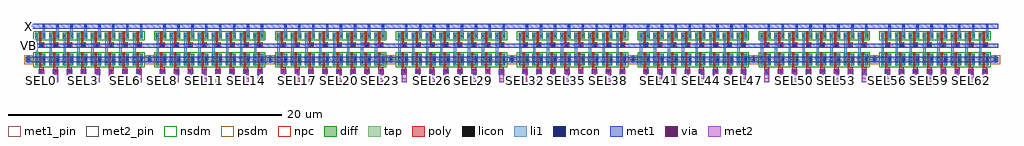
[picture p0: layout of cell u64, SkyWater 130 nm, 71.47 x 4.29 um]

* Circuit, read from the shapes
.subckt u64 GND SEL0 SEL1 SEL10 SEL11 SEL12 SEL13 SEL14 SEL15 SEL16 SEL17 SEL18 SEL19 SEL2 SEL20 SEL21 SEL22 SEL23 SEL24 SEL25 SEL26 SEL27 SEL28 SEL29 SEL3 SEL30 SEL31 SEL32 SEL33 SEL34 SEL35 SEL36 SEL37 SEL38 SEL39 SEL4 SEL40 SEL41 SEL42 SEL43 SEL44 SEL45 SEL46 SEL47 SEL48 SEL49 SEL5 SEL50 SEL51 SEL52 SEL53 SEL54 SEL55 SEL56 SEL57 SEL58 SEL59 SEL6 SEL60 SEL61 SEL62 SEL63 SEL7 SEL8 SEL9 VB X
XM1 GND SEL0 n1 GND sky130_fd_pr__nfet_01v8 w=0.84 l=0.15
XM2 X VB n1 GND sky130_fd_pr__nfet_01v8 w=0.42 l=0.15
XM3 GND SEL1 n2 GND sky130_fd_pr__nfet_01v8 w=0.84 l=0.15
XM4 X VB n2 GND sky130_fd_pr__nfet_01v8 w=0.42 l=0.15
XM5 GND SEL2 n3 GND sky130_fd_pr__nfet_01v8 w=0.84 l=0.15
XM6 X VB n3 GND sky130_fd_pr__nfet_01v8 w=0.42 l=0.15
XM7 GND SEL3 n4 GND sky130_fd_pr__nfet_01v8 w=0.84 l=0.15
XM8 X VB n4 GND sky130_fd_pr__nfet_01v8 w=0.42 l=0.15
XM9 GND SEL4 n5 GND sky130_fd_pr__nfet_01v8 w=0.84 l=0.15
XM10 X VB n5 GND sky130_fd_pr__nfet_01v8 w=0.42 l=0.15
XM11 GND SEL5 n6 GND sky130_fd_pr__nfet_01v8 w=0.84 l=0.15
XM12 X VB n6 GND sky130_fd_pr__nfet_01v8 w=0.42 l=0.15
XM13 GND SEL6 n7 GND sky130_fd_pr__nfet_01v8 w=0.84 l=0.15
XM14 X VB n7 GND sky130_fd_pr__nfet_01v8 w=0.42 l=0.15
XM15 GND SEL7 n8 GND sky130_fd_pr__nfet_01v8 w=0.84 l=0.15
XM16 X VB n8 GND sky130_fd_pr__nfet_01v8 w=0.42 l=0.15
XM17 GND SEL8 n9 GND sky130_fd_pr__nfet_01v8 w=0.84 l=0.15
XM18 X VB n9 GND sky130_fd_pr__nfet_01v8 w=0.42 l=0.15
XM19 GND SEL9 n10 GND sky130_fd_pr__nfet_01v8 w=0.84 l=0.15
XM20 X VB n10 GND sky130_fd_pr__nfet_01v8 w=0.42 l=0.15
XM21 GND SEL10 n11 GND sky130_fd_pr__nfet_01v8 w=0.84 l=0.15
XM22 X VB n11 GND sky130_fd_pr__nfet_01v8 w=0.42 l=0.15
XM23 GND SEL11 n12 GND sky130_fd_pr__nfet_01v8 w=0.84 l=0.15
XM24 X VB n12 GND sky130_fd_pr__nfet_01v8 w=0.42 l=0.15
XM25 GND SEL12 n13 GND sky130_fd_pr__nfet_01v8 w=0.84 l=0.15
XM26 X VB n13 GND sky130_fd_pr__nfet_01v8 w=0.42 l=0.15
XM27 GND SEL13 n14 GND sky130_fd_pr__nfet_01v8 w=0.84 l=0.15
XM28 X VB n14 GND sky130_fd_pr__nfet_01v8 w=0.42 l=0.15
XM29 GND SEL14 n15 GND sky130_fd_pr__nfet_01v8 w=0.84 l=0.15
XM30 X VB n15 GND sky130_fd_pr__nfet_01v8 w=0.42 l=0.15
XM31 GND SEL15 n16 GND sky130_fd_pr__nfet_01v8 w=0.84 l=0.15
XM32 X VB n16 GND sky130_fd_pr__nfet_01v8 w=0.42 l=0.15
XM33 GND SEL16 n17 GND sky130_fd_pr__nfet_01v8 w=0.84 l=0.15
XM34 X VB n17 GND sky130_fd_pr__nfet_01v8 w=0.42 l=0.15
XM35 GND SEL17 n18 GND sky130_fd_pr__nfet_01v8 w=0.84 l=0.15
XM36 X VB n18 GND sky130_fd_pr__nfet_01v8 w=0.42 l=0.15
XM37 GND SEL18 n19 GND sky130_fd_pr__nfet_01v8 w=0.84 l=0.15
XM38 X VB n19 GND sky130_fd_pr__nfet_01v8 w=0.42 l=0.15
XM39 GND SEL19 n20 GND sky130_fd_pr__nfet_01v8 w=0.84 l=0.15
XM40 X VB n20 GND sky130_fd_pr__nfet_01v8 w=0.42 l=0.15
XM41 GND SEL20 n21 GND sky130_fd_pr__nfet_01v8 w=0.84 l=0.15
XM42 X VB n21 GND sky130_fd_pr__nfet_01v8 w=0.42 l=0.15
XM43 GND SEL21 n22 GND sky130_fd_pr__nfet_01v8 w=0.84 l=0.15
XM44 X VB n22 GND sky130_fd_pr__nfet_01v8 w=0.42 l=0.15
XM45 GND SEL22 n23 GND sky130_fd_pr__nfet_01v8 w=0.84 l=0.15
XM46 X VB n23 GND sky130_fd_pr__nfet_01v8 w=0.42 l=0.15
XM47 GND SEL23 n24 GND sky130_fd_pr__nfet_01v8 w=0.84 l=0.15
XM48 X VB n24 GND sky130_fd_pr__nfet_01v8 w=0.42 l=0.15
XM49 GND SEL24 n25 GND sky130_fd_pr__nfet_01v8 w=0.84 l=0.15
XM50 X VB n25 GND sky130_fd_pr__nfet_01v8 w=0.42 l=0.15
XM51 GND SEL25 n26 GND sky130_fd_pr__nfet_01v8 w=0.84 l=0.15
XM52 X VB n26 GND sky130_fd_pr__nfet_01v8 w=0.42 l=0.15
XM53 GND SEL26 n27 GND sky130_fd_pr__nfet_01v8 w=0.84 l=0.15
XM54 X VB n27 GND sky130_fd_pr__nfet_01v8 w=0.42 l=0.15
XM55 GND SEL27 n28 GND sky130_fd_pr__nfet_01v8 w=0.84 l=0.15
XM56 X VB n28 GND sky130_fd_pr__nfet_01v8 w=0.42 l=0.15
XM57 GND SEL28 n29 GND sky130_fd_pr__nfet_01v8 w=0.84 l=0.15
XM58 X VB n29 GND sky130_fd_pr__nfet_01v8 w=0.42 l=0.15
XM59 GND SEL29 n30 GND sky130_fd_pr__nfet_01v8 w=0.84 l=0.15
XM60 X VB n30 GND sky130_fd_pr__nfet_01v8 w=0.42 l=0.15
XM61 GND SEL30 n31 GND sky130_fd_pr__nfet_01v8 w=0.84 l=0.15
XM62 X VB n31 GND sky130_fd_pr__nfet_01v8 w=0.42 l=0.15
XM63 GND SEL31 n32 GND sky130_fd_pr__nfet_01v8 w=0.84 l=0.15
XM64 X VB n32 GND sky130_fd_pr__nfet_01v8 w=0.42 l=0.15
XM65 GND SEL32 n33 GND sky130_fd_pr__nfet_01v8 w=0.84 l=0.15
XM66 X VB n33 GND sky130_fd_pr__nfet_01v8 w=0.42 l=0.15
XM67 GND SEL33 n34 GND sky130_fd_pr__nfet_01v8 w=0.84 l=0.15
XM68 X VB n34 GND sky130_fd_pr__nfet_01v8 w=0.42 l=0.15
XM69 GND SEL34 n35 GND sky130_fd_pr__nfet_01v8 w=0.84 l=0.15
XM70 X VB n35 GND sky130_fd_pr__nfet_01v8 w=0.42 l=0.15
XM71 GND SEL35 n36 GND sky130_fd_pr__nfet_01v8 w=0.84 l=0.15
XM72 X VB n36 GND sky130_fd_pr__nfet_01v8 w=0.42 l=0.15
XM73 GND SEL36 n37 GND sky130_fd_pr__nfet_01v8 w=0.84 l=0.15
XM74 X VB n37 GND sky130_fd_pr__nfet_01v8 w=0.42 l=0.15
XM75 GND SEL37 n38 GND sky130_fd_pr__nfet_01v8 w=0.84 l=0.15
XM76 X VB n38 GND sky130_fd_pr__nfet_01v8 w=0.42 l=0.15
XM77 GND SEL38 n39 GND sky130_fd_pr__nfet_01v8 w=0.84 l=0.15
XM78 X VB n39 GND sky130_fd_pr__nfet_01v8 w=0.42 l=0.15
XM79 GND SEL39 n40 GND sky130_fd_pr__nfet_01v8 w=0.84 l=0.15
XM80 X VB n40 GND sky130_fd_pr__nfet_01v8 w=0.42 l=0.15
XM81 GND SEL40 n41 GND sky130_fd_pr__nfet_01v8 w=0.84 l=0.15
XM82 X VB n41 GND sky130_fd_pr__nfet_01v8 w=0.42 l=0.15
XM83 GND SEL41 n42 GND sky130_fd_pr__nfet_01v8 w=0.84 l=0.15
XM84 X VB n42 GND sky130_fd_pr__nfet_01v8 w=0.42 l=0.15
XM85 GND SEL42 n43 GND sky130_fd_pr__nfet_01v8 w=0.84 l=0.15
XM86 X VB n43 GND sky130_fd_pr__nfet_01v8 w=0.42 l=0.15
XM87 GND SEL43 n44 GND sky130_fd_pr__nfet_01v8 w=0.84 l=0.15
XM88 X VB n44 GND sky130_fd_pr__nfet_01v8 w=0.42 l=0.15
XM89 GND SEL44 n45 GND sky130_fd_pr__nfet_01v8 w=0.84 l=0.15
XM90 X VB n45 GND sky130_fd_pr__nfet_01v8 w=0.42 l=0.15
XM91 GND SEL45 n46 GND sky130_fd_pr__nfet_01v8 w=0.84 l=0.15
XM92 X VB n46 GND sky130_fd_pr__nfet_01v8 w=0.42 l=0.15
XM93 GND SEL46 n47 GND sky130_fd_pr__nfet_01v8 w=0.84 l=0.15
XM94 X VB n47 GND sky130_fd_pr__nfet_01v8 w=0.42 l=0.15
XM95 GND SEL47 n48 GND sky130_fd_pr__nfet_01v8 w=0.84 l=0.15
XM96 X VB n48 GND sky130_fd_pr__nfet_01v8 w=0.42 l=0.15
XM97 GND SEL48 n49 GND sky130_fd_pr__nfet_01v8 w=0.84 l=0.15
XM98 X VB n49 GND sky130_fd_pr__nfet_01v8 w=0.42 l=0.15
XM99 GND SEL49 n50 GND sky130_fd_pr__nfet_01v8 w=0.84 l=0.15
XM100 X VB n50 GND sky130_fd_pr__nfet_01v8 w=0.42 l=0.15
XM101 GND SEL50 n51 GND sky130_fd_pr__nfet_01v8 w=0.84 l=0.15
XM102 X VB n51 GND sky130_fd_pr__nfet_01v8 w=0.42 l=0.15
XM103 GND SEL51 n52 GND sky130_fd_pr__nfet_01v8 w=0.84 l=0.15
XM104 X VB n52 GND sky130_fd_pr__nfet_01v8 w=0.42 l=0.15
XM105 GND SEL52 n53 GND sky130_fd_pr__nfet_01v8 w=0.84 l=0.15
XM106 X VB n53 GND sky130_fd_pr__nfet_01v8 w=0.42 l=0.15
XM107 GND SEL53 n54 GND sky130_fd_pr__nfet_01v8 w=0.84 l=0.15
XM108 X VB n54 GND sky130_fd_pr__nfet_01v8 w=0.42 l=0.15
XM109 GND SEL54 n55 GND sky130_fd_pr__nfet_01v8 w=0.84 l=0.15
XM110 X VB n55 GND sky130_fd_pr__nfet_01v8 w=0.42 l=0.15
XM111 GND SEL55 n56 GND sky130_fd_pr__nfet_01v8 w=0.84 l=0.15
XM112 X VB n56 GND sky130_fd_pr__nfet_01v8 w=0.42 l=0.15
XM113 GND SEL56 n57 GND sky130_fd_pr__nfet_01v8 w=0.84 l=0.15
XM114 X VB n57 GND sky130_fd_pr__nfet_01v8 w=0.42 l=0.15
XM115 GND SEL57 n58 GND sky130_fd_pr__nfet_01v8 w=0.84 l=0.15
XM116 X VB n58 GND sky130_fd_pr__nfet_01v8 w=0.42 l=0.15
XM117 GND SEL58 n59 GND sky130_fd_pr__nfet_01v8 w=0.84 l=0.15
XM118 X VB n59 GND sky130_fd_pr__nfet_01v8 w=0.42 l=0.15
XM119 GND SEL59 n60 GND sky130_fd_pr__nfet_01v8 w=0.84 l=0.15
XM120 X VB n60 GND sky130_fd_pr__nfet_01v8 w=0.42 l=0.15
XM121 GND SEL60 n61 GND sky130_fd_pr__nfet_01v8 w=0.84 l=0.15
XM122 X VB n61 GND sky130_fd_pr__nfet_01v8 w=0.42 l=0.15
XM123 GND SEL61 n62 GND sky130_fd_pr__nfet_01v8 w=0.84 l=0.15
XM124 X VB n62 GND sky130_fd_pr__nfet_01v8 w=0.42 l=0.15
XM125 GND SEL62 n63 GND sky130_fd_pr__nfet_01v8 w=0.84 l=0.15
XM126 X VB n63 GND sky130_fd_pr__nfet_01v8 w=0.42 l=0.15
XM127 GND SEL63 n64 GND sky130_fd_pr__nfet_01v8 w=0.84 l=0.15
XM128 X VB n64 GND sky130_fd_pr__nfet_01v8 w=0.42 l=0.15
.ends

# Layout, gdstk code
import gdstk
lib = gdstk.Library(unit=1e-6, precision=1e-09)
def R(c, l, rs):  # rectangles x0, y0, x1, y1
    for r in rs: c.add(gdstk.rectangle(r[:2], r[2:], *l))
def A(c, l, x, y, w, h, nx, ny, dx, dy):  # array of equal rectangles
    R(c, l, [(x+i*dx, y+j*dy, x+i*dx+w, y+j*dy+h) for i in range(nx) for j in range(ny)])
diff = (65, 20)
tap = (65, 44)
poly = (66, 20)
licon = (66, 44)
li1 = (67, 20)
mcon = (67, 44)
met1_pin = (68, 16)
met1 = (68, 20)
via = (68, 44)
met2_pin = (69, 16)
met2 = (69, 20)
nsdm = (93, 44)
psdm = (94, 20)
npc = (95, 20)

u64 = lib.new_cell('u64')
A(u64, diff, 0.69, -1.96, 0.75, 0.84, 8, 1, 1.02, 0)
A(u64, diff, 9.54, -1.96, 0.75, 0.84, 8, 1, 1.02, 0)
A(u64, diff, 18.39, -1.96, 0.75, 0.84, 8, 1, 1.02, 0)
A(u64, diff, 27.24, -1.96, 0.75, 0.84, 8, 1, 1.02, 0)
A(u64, diff, 36.09, -1.96, 0.75, 0.84, 8, 1, 1.02, 0)
A(u64, diff, 44.94, -1.96, 0.75, 0.84, 8, 1, 1.02, 0)
A(u64, diff, 53.79, -1.96, 0.75, 0.84, 8, 1, 1.02, 0)
A(u64, diff, 62.64, -1.96, 0.75, 0.84, 8, 1, 1.02, 0)
A(u64, diff, 0.69, 0, 0.75, 0.42, 8, 1, 1.02, 0)
A(u64, diff, 9.54, 0, 0.75, 0.42, 8, 1, 1.02, 0)
A(u64, diff, 18.39, 0, 0.75, 0.42, 8, 1, 1.02, 0)
A(u64, diff, 27.24, 0, 0.75, 0.42, 8, 1, 1.02, 0)
A(u64, diff, 36.09, 0, 0.75, 0.42, 8, 1, 1.02, 0)
A(u64, diff, 44.94, 0, 0.75, 0.42, 8, 1, 1.02, 0)
A(u64, diff, 53.79, 0, 0.75, 0.42, 8, 1, 1.02, 0)
A(u64, diff, 62.64, 0, 0.75, 0.42, 8, 1, 1.02, 0)
A(u64, tap, 0, -1.75, 0.42, 0.42, 9, 1, 8.85, 0)
A(u64, poly, 0.99, -2.62, 0.34, 0.53, 8, 1, 1.02, 0)
A(u64, poly, 9.84, -2.62, 0.34, 0.53, 8, 1, 1.02, 0)
A(u64, poly, 18.69, -2.62, 0.34, 0.53, 8, 1, 1.02, 0)
A(u64, poly, 27.54, -2.62, 0.34, 0.53, 8, 1, 1.02, 0)
A(u64, poly, 36.39, -2.62, 0.34, 0.53, 8, 1, 1.02, 0)
A(u64, poly, 45.24, -2.62, 0.34, 0.53, 8, 1, 1.02, 0)
A(u64, poly, 54.09, -2.62, 0.34, 0.53, 8, 1, 1.02, 0)
A(u64, poly, 62.94, -2.62, 0.34, 0.53, 8, 1, 1.02, 0)
A(u64, poly, 0.99, -2.09, 0.15, 1.1, 8, 1, 1.02, 0)
A(u64, poly, 9.84, -2.09, 0.15, 1.1, 8, 1, 1.02, 0)
A(u64, poly, 18.69, -2.09, 0.15, 1.1, 8, 1, 1.02, 0)
A(u64, poly, 27.54, -2.09, 0.15, 1.1, 8, 1, 1.02, 0)
A(u64, poly, 36.39, -2.09, 0.15, 1.1, 8, 1, 1.02, 0)
A(u64, poly, 45.24, -2.09, 0.15, 1.1, 8, 1, 1.02, 0)
A(u64, poly, 54.09, -2.09, 0.15, 1.1, 8, 1, 1.02, 0)
A(u64, poly, 62.94, -2.09, 0.15, 1.1, 8, 1, 1.02, 0)
A(u64, poly, 0.99, -0.62, 0.34, 0.33, 8, 1, 1.02, 0)
A(u64, poly, 9.84, -0.62, 0.34, 0.33, 8, 1, 1.02, 0)
A(u64, poly, 18.69, -0.62, 0.34, 0.33, 8, 1, 1.02, 0)
A(u64, poly, 27.54, -0.62, 0.34, 0.33, 8, 1, 1.02, 0)
A(u64, poly, 36.39, -0.62, 0.34, 0.33, 8, 1, 1.02, 0)
A(u64, poly, 45.24, -0.62, 0.34, 0.33, 8, 1, 1.02, 0)
A(u64, poly, 54.09, -0.62, 0.34, 0.33, 8, 1, 1.02, 0)
A(u64, poly, 62.94, -0.62, 0.34, 0.33, 8, 1, 1.02, 0)
A(u64, poly, 0.99, -0.29, 0.15, 0.84, 8, 1, 1.02, 0)
A(u64, poly, 9.84, -0.29, 0.15, 0.84, 8, 1, 1.02, 0)
A(u64, poly, 18.69, -0.29, 0.15, 0.84, 8, 1, 1.02, 0)
A(u64, poly, 27.54, -0.29, 0.15, 0.84, 8, 1, 1.02, 0)
A(u64, poly, 36.39, -0.29, 0.15, 0.84, 8, 1, 1.02, 0)
A(u64, poly, 45.24, -0.29, 0.15, 0.84, 8, 1, 1.02, 0)
A(u64, poly, 54.09, -0.29, 0.15, 0.84, 8, 1, 1.02, 0)
A(u64, poly, 62.94, -0.29, 0.15, 0.84, 8, 1, 1.02, 0)
A(u64, licon, 1.08, -2.54, 0.17, 0.17, 8, 2, 1.02, 2)
A(u64, licon, 9.93, -2.54, 0.17, 0.17, 8, 2, 1.02, 2)
A(u64, licon, 18.78, -2.54, 0.17, 0.17, 8, 2, 1.02, 2)
A(u64, licon, 27.63, -2.54, 0.17, 0.17, 8, 2, 1.02, 2)
A(u64, licon, 36.48, -2.54, 0.17, 0.17, 8, 2, 1.02, 2)
A(u64, licon, 45.33, -2.54, 0.17, 0.17, 8, 2, 1.02, 2)
A(u64, licon, 54.18, -2.54, 0.17, 0.17, 8, 2, 1.02, 2)
A(u64, licon, 63.03, -2.54, 0.17, 0.17, 8, 2, 1.02, 2)
A(u64, licon, 0.125, -1.625, 0.17, 0.17, 9, 1, 8.85, 0)
R(u64, licon, [(0.73,-1.795,0.9,-1.625), (1.23,-1.795,1.4,-1.625), (1.75,-1.795,1.92,-1.625), (2.25,-1.795,2.42,-1.625), (2.77,-1.795,2.94,-1.625), (3.27,-1.795,3.44,-1.625), (3.79,-1.795,3.96,-1.625), (4.29,-1.795,4.46,-1.625), (4.81,-1.795,4.98,-1.625), (5.31,-1.795,5.48,-1.625), (5.83,-1.795,6,-1.625), (6.33,-1.795,6.5,-1.625), (6.85,-1.795,7.02,-1.625), (7.35,-1.795,7.52,-1.625), (7.87,-1.795,8.04,-1.625), (8.37,-1.795,8.54,-1.625), (9.58,-1.795,9.75,-1.625), (10.08,-1.795,10.25,-1.625), (10.6,-1.795,10.77,-1.625), (11.1,-1.795,11.27,-1.625), (11.62,-1.795,11.79,-1.625), (12.12,-1.795,12.29,-1.625), (12.64,-1.795,12.81,-1.625), (13.14,-1.795,13.31,-1.625), (13.66,-1.795,13.83,-1.625), (14.16,-1.795,14.33,-1.625), (14.68,-1.795,14.85,-1.625), (15.18,-1.795,15.35,-1.625), (15.7,-1.795,15.87,-1.625), (16.2,-1.795,16.37,-1.625), (16.72,-1.795,16.89,-1.625), (17.22,-1.795,17.39,-1.625), (18.43,-1.795,18.6,-1.625), (18.93,-1.795,19.1,-1.625), (19.45,-1.795,19.62,-1.625), (19.95,-1.795,20.12,-1.625), (20.47,-1.795,20.64,-1.625), (20.97,-1.795,21.14,-1.625), (21.49,-1.795,21.66,-1.625), (21.99,-1.795,22.16,-1.625), (22.51,-1.795,22.68,-1.625), (23.01,-1.795,23.18,-1.625), (23.53,-1.795,23.7,-1.625), (24.03,-1.795,24.2,-1.625), (24.55,-1.795,24.72,-1.625), (25.05,-1.795,25.22,-1.625), (25.57,-1.795,25.74,-1.625), (26.07,-1.795,26.24,-1.625), (27.28,-1.795,27.45,-1.625), (27.78,-1.795,27.95,-1.625), (28.3,-1.795,28.47,-1.625), (28.8,-1.795,28.97,-1.625), (29.32,-1.795,29.49,-1.625), (29.82,-1.795,29.99,-1.625), (30.34,-1.795,30.51,-1.625), (30.84,-1.795,31.01,-1.625), (31.36,-1.795,31.53,-1.625), (31.86,-1.795,32.03,-1.625), (32.38,-1.795,32.55,-1.625), (32.88,-1.795,33.05,-1.625), (33.4,-1.795,33.57,-1.625), (33.9,-1.795,34.07,-1.625), (34.42,-1.795,34.59,-1.625), (34.92,-1.795,35.09,-1.625), (36.13,-1.795,36.3,-1.625), (36.63,-1.795,36.8,-1.625), (37.15,-1.795,37.32,-1.625), (37.65,-1.795,37.82,-1.625), (38.17,-1.795,38.34,-1.625), (38.67,-1.795,38.84,-1.625), (39.19,-1.795,39.36,-1.625), (39.69,-1.795,39.86,-1.625), (40.21,-1.795,40.38,-1.625), (40.71,-1.795,40.88,-1.625), (41.23,-1.795,41.4,-1.625), (41.73,-1.795,41.9,-1.625), (42.25,-1.795,42.42,-1.625), (42.75,-1.795,42.92,-1.625), (43.27,-1.795,43.44,-1.625), (43.77,-1.795,43.94,-1.625), (44.98,-1.795,45.15,-1.625), (45.48,-1.795,45.65,-1.625), (46,-1.795,46.17,-1.625), (46.5,-1.795,46.67,-1.625), (47.02,-1.795,47.19,-1.625), (47.52,-1.795,47.69,-1.625), (48.04,-1.795,48.21,-1.625), (48.54,-1.795,48.71,-1.625), (49.06,-1.795,49.23,-1.625), (49.56,-1.795,49.73,-1.625), (50.08,-1.795,50.25,-1.625), (50.58,-1.795,50.75,-1.625), (51.1,-1.795,51.27,-1.625), (51.6,-1.795,51.77,-1.625), (52.12,-1.795,52.29,-1.625), (52.62,-1.795,52.79,-1.625), (53.83,-1.795,54,-1.625), (54.33,-1.795,54.5,-1.625), (54.85,-1.795,55.02,-1.625), (55.35,-1.795,55.52,-1.625), (55.87,-1.795,56.04,-1.625), (56.37,-1.795,56.54,-1.625), (56.89,-1.795,57.06,-1.625), (57.39,-1.795,57.56,-1.625), (57.91,-1.795,58.08,-1.625), (58.41,-1.795,58.58,-1.625), (58.93,-1.795,59.1,-1.625), (59.43,-1.795,59.6,-1.625), (59.95,-1.795,60.12,-1.625), (60.45,-1.795,60.62,-1.625), (60.97,-1.795,61.14,-1.625), (61.47,-1.795,61.64,-1.625), (62.68,-1.795,62.85,-1.625), (63.18,-1.795,63.35,-1.625), (63.7,-1.795,63.87,-1.625), (64.2,-1.795,64.37,-1.625), (64.72,-1.795,64.89,-1.625), (65.22,-1.795,65.39,-1.625), (65.74,-1.795,65.91,-1.625), (66.24,-1.795,66.41,-1.625), (66.76,-1.795,66.93,-1.625), (67.26,-1.795,67.43,-1.625), (67.78,-1.795,67.95,-1.625), (68.28,-1.795,68.45,-1.625), (68.8,-1.795,68.97,-1.625), (69.3,-1.795,69.47,-1.625), (69.82,-1.795,69.99,-1.625), (70.32,-1.795,70.49,-1.625), (0.73,-1.455,0.9,-1.285), (1.23,-1.455,1.4,-1.285), (1.75,-1.455,1.92,-1.285), (2.25,-1.455,2.42,-1.285), (2.77,-1.455,2.94,-1.285), (3.27,-1.455,3.44,-1.285), (3.79,-1.455,3.96,-1.285), (4.29,-1.455,4.46,-1.285), (4.81,-1.455,4.98,-1.285), (5.31,-1.455,5.48,-1.285), (5.83,-1.455,6,-1.285), (6.33,-1.455,6.5,-1.285), (6.85,-1.455,7.02,-1.285), (7.35,-1.455,7.52,-1.285), (7.87,-1.455,8.04,-1.285), (8.37,-1.455,8.54,-1.285), (9.58,-1.455,9.75,-1.285), (10.08,-1.455,10.25,-1.285), (10.6,-1.455,10.77,-1.285), (11.1,-1.455,11.27,-1.285), (11.62,-1.455,11.79,-1.285), (12.12,-1.455,12.29,-1.285), (12.64,-1.455,12.81,-1.285), (13.14,-1.455,13.31,-1.285), (13.66,-1.455,13.83,-1.285), (14.16,-1.455,14.33,-1.285), (14.68,-1.455,14.85,-1.285), (15.18,-1.455,15.35,-1.285), (15.7,-1.455,15.87,-1.285), (16.2,-1.455,16.37,-1.285), (16.72,-1.455,16.89,-1.285), (17.22,-1.455,17.39,-1.285), (18.43,-1.455,18.6,-1.285), (18.93,-1.455,19.1,-1.285), (19.45,-1.455,19.62,-1.285), (19.95,-1.455,20.12,-1.285), (20.47,-1.455,20.64,-1.285), (20.97,-1.455,21.14,-1.285), (21.49,-1.455,21.66,-1.285), (21.99,-1.455,22.16,-1.285), (22.51,-1.455,22.68,-1.285), (23.01,-1.455,23.18,-1.285), (23.53,-1.455,23.7,-1.285), (24.03,-1.455,24.2,-1.285), (24.55,-1.455,24.72,-1.285), (25.05,-1.455,25.22,-1.285), (25.57,-1.455,25.74,-1.285), (26.07,-1.455,26.24,-1.285), (27.28,-1.455,27.45,-1.285), (27.78,-1.455,27.95,-1.285), (28.3,-1.455,28.47,-1.285), (28.8,-1.455,28.97,-1.285), (29.32,-1.455,29.49,-1.285), (29.82,-1.455,29.99,-1.285), (30.34,-1.455,30.51,-1.285), (30.84,-1.455,31.01,-1.285), (31.36,-1.455,31.53,-1.285), (31.86,-1.455,32.03,-1.285), (32.38,-1.455,32.55,-1.285), (32.88,-1.455,33.05,-1.285), (33.4,-1.455,33.57,-1.285), (33.9,-1.455,34.07,-1.285), (34.42,-1.455,34.59,-1.285), (34.92,-1.455,35.09,-1.285), (36.13,-1.455,36.3,-1.285), (36.63,-1.455,36.8,-1.285), (37.15,-1.455,37.32,-1.285), (37.65,-1.455,37.82,-1.285), (38.17,-1.455,38.34,-1.285), (38.67,-1.455,38.84,-1.285), (39.19,-1.455,39.36,-1.285), (39.69,-1.455,39.86,-1.285), (40.21,-1.455,40.38,-1.285), (40.71,-1.455,40.88,-1.285), (41.23,-1.455,41.4,-1.285), (41.73,-1.455,41.9,-1.285), (42.25,-1.455,42.42,-1.285), (42.75,-1.455,42.92,-1.285), (43.27,-1.455,43.44,-1.285), (43.77,-1.455,43.94,-1.285), (44.98,-1.455,45.15,-1.285), (45.48,-1.455,45.65,-1.285), (46,-1.455,46.17,-1.285), (46.5,-1.455,46.67,-1.285), (47.02,-1.455,47.19,-1.285), (47.52,-1.455,47.69,-1.285), (48.04,-1.455,48.21,-1.285), (48.54,-1.455,48.71,-1.285), (49.06,-1.455,49.23,-1.285), (49.56,-1.455,49.73,-1.285), (50.08,-1.455,50.25,-1.285), (50.58,-1.455,50.75,-1.285), (51.1,-1.455,51.27,-1.285), (51.6,-1.455,51.77,-1.285), (52.12,-1.455,52.29,-1.285), (52.62,-1.455,52.79,-1.285), (53.83,-1.455,54,-1.285), (54.33,-1.455,54.5,-1.285), (54.85,-1.455,55.02,-1.285), (55.35,-1.455,55.52,-1.285), (55.87,-1.455,56.04,-1.285), (56.37,-1.455,56.54,-1.285), (56.89,-1.455,57.06,-1.285), (57.39,-1.455,57.56,-1.285), (57.91,-1.455,58.08,-1.285), (58.41,-1.455,58.58,-1.285), (58.93,-1.455,59.1,-1.285), (59.43,-1.455,59.6,-1.285), (59.95,-1.455,60.12,-1.285), (60.45,-1.455,60.62,-1.285), (60.97,-1.455,61.14,-1.285), (61.47,-1.455,61.64,-1.285), (62.68,-1.455,62.85,-1.285), (63.18,-1.455,63.35,-1.285), (63.7,-1.455,63.87,-1.285), (64.2,-1.455,64.37,-1.285), (64.72,-1.455,64.89,-1.285), (65.22,-1.455,65.39,-1.285), (65.74,-1.455,65.91,-1.285), (66.24,-1.455,66.41,-1.285), (66.76,-1.455,66.93,-1.285), (67.26,-1.455,67.43,-1.285), (67.78,-1.455,67.95,-1.285), (68.28,-1.455,68.45,-1.285), (68.8,-1.455,68.97,-1.285), (69.3,-1.455,69.47,-1.285), (69.82,-1.455,69.99,-1.285), (70.32,-1.455,70.49,-1.285), (0.73,0.125,0.9,0.295), (1.23,0.125,1.4,0.295), (1.75,0.125,1.92,0.295), (2.25,0.125,2.42,0.295), (2.77,0.125,2.94,0.295), (3.27,0.125,3.44,0.295), (3.79,0.125,3.96,0.295), (4.29,0.125,4.46,0.295), (4.81,0.125,4.98,0.295), (5.31,0.125,5.48,0.295), (5.83,0.125,6,0.295), (6.33,0.125,6.5,0.295), (6.85,0.125,7.02,0.295), (7.35,0.125,7.52,0.295), (7.87,0.125,8.04,0.295), (8.37,0.125,8.54,0.295), (9.58,0.125,9.75,0.295), (10.08,0.125,10.25,0.295), (10.6,0.125,10.77,0.295), (11.1,0.125,11.27,0.295), (11.62,0.125,11.79,0.295), (12.12,0.125,12.29,0.295), (12.64,0.125,12.81,0.295), (13.14,0.125,13.31,0.295), (13.66,0.125,13.83,0.295), (14.16,0.125,14.33,0.295), (14.68,0.125,14.85,0.295), (15.18,0.125,15.35,0.295), (15.7,0.125,15.87,0.295), (16.2,0.125,16.37,0.295), (16.72,0.125,16.89,0.295), (17.22,0.125,17.39,0.295), (18.43,0.125,18.6,0.295), (18.93,0.125,19.1,0.295), (19.45,0.125,19.62,0.295), (19.95,0.125,20.12,0.295), (20.47,0.125,20.64,0.295), (20.97,0.125,21.14,0.295), (21.49,0.125,21.66,0.295), (21.99,0.125,22.16,0.295), (22.51,0.125,22.68,0.295), (23.01,0.125,23.18,0.295), (23.53,0.125,23.7,0.295), (24.03,0.125,24.2,0.295), (24.55,0.125,24.72,0.295), (25.05,0.125,25.22,0.295), (25.57,0.125,25.74,0.295), (26.07,0.125,26.24,0.295), (27.28,0.125,27.45,0.295), (27.78,0.125,27.95,0.295), (28.3,0.125,28.47,0.295), (28.8,0.125,28.97,0.295), (29.32,0.125,29.49,0.295), (29.82,0.125,29.99,0.295), (30.34,0.125,30.51,0.295), (30.84,0.125,31.01,0.295), (31.36,0.125,31.53,0.295), (31.86,0.125,32.03,0.295), (32.38,0.125,32.55,0.295), (32.88,0.125,33.05,0.295), (33.4,0.125,33.57,0.295), (33.9,0.125,34.07,0.295), (34.42,0.125,34.59,0.295), (34.92,0.125,35.09,0.295), (36.13,0.125,36.3,0.295), (36.63,0.125,36.8,0.295), (37.15,0.125,37.32,0.295), (37.65,0.125,37.82,0.295), (38.17,0.125,38.34,0.295), (38.67,0.125,38.84,0.295), (39.19,0.125,39.36,0.295), (39.69,0.125,39.86,0.295), (40.21,0.125,40.38,0.295), (40.71,0.125,40.88,0.295), (41.23,0.125,41.4,0.295), (41.73,0.125,41.9,0.295), (42.25,0.125,42.42,0.295), (42.75,0.125,42.92,0.295), (43.27,0.125,43.44,0.295), (43.77,0.125,43.94,0.295), (44.98,0.125,45.15,0.295), (45.48,0.125,45.65,0.295), (46,0.125,46.17,0.295), (46.5,0.125,46.67,0.295), (47.02,0.125,47.19,0.295), (47.52,0.125,47.69,0.295), (48.04,0.125,48.21,0.295), (48.54,0.125,48.71,0.295), (49.06,0.125,49.23,0.295), (49.56,0.125,49.73,0.295), (50.08,0.125,50.25,0.295), (50.58,0.125,50.75,0.295), (51.1,0.125,51.27,0.295), (51.6,0.125,51.77,0.295), (52.12,0.125,52.29,0.295), (52.62,0.125,52.79,0.295), (53.83,0.125,54,0.295), (54.33,0.125,54.5,0.295), (54.85,0.125,55.02,0.295), (55.35,0.125,55.52,0.295), (55.87,0.125,56.04,0.295), (56.37,0.125,56.54,0.295), (56.89,0.125,57.06,0.295), (57.39,0.125,57.56,0.295), (57.91,0.125,58.08,0.295), (58.41,0.125,58.58,0.295), (58.93,0.125,59.1,0.295), (59.43,0.125,59.6,0.295), (59.95,0.125,60.12,0.295), (60.45,0.125,60.62,0.295), (60.97,0.125,61.14,0.295), (61.47,0.125,61.64,0.295), (62.68,0.125,62.85,0.295), (63.18,0.125,63.35,0.295), (63.7,0.125,63.87,0.295), (64.2,0.125,64.37,0.295), (64.72,0.125,64.89,0.295), (65.22,0.125,65.39,0.295), (65.74,0.125,65.91,0.295), (66.24,0.125,66.41,0.295), (66.76,0.125,66.93,0.295), (67.26,0.125,67.43,0.295), (67.78,0.125,67.95,0.295), (68.28,0.125,68.45,0.295), (68.8,0.125,68.97,0.295), (69.3,0.125,69.47,0.295), (69.82,0.125,69.99,0.295), (70.32,0.125,70.49,0.295)])
A(u64, li1, 1.08, -2.62, 0.17, 0.33, 8, 2, 1.02, 2)
A(u64, li1, 9.93, -2.62, 0.17, 0.33, 8, 2, 1.02, 2)
A(u64, li1, 18.78, -2.62, 0.17, 0.33, 8, 2, 1.02, 2)
A(u64, li1, 27.63, -2.62, 0.17, 0.33, 8, 2, 1.02, 2)
A(u64, li1, 36.48, -2.62, 0.17, 0.33, 8, 2, 1.02, 2)
A(u64, li1, 45.33, -2.62, 0.17, 0.33, 8, 2, 1.02, 2)
A(u64, li1, 54.18, -2.62, 0.17, 0.33, 8, 2, 1.02, 2)
A(u64, li1, 63.03, -2.62, 0.17, 0.33, 8, 2, 1.02, 2)
A(u64, li1, 0.73, -1.98, 0.17, 2.42, 8, 1, 1.02, 0)
A(u64, li1, 1.23, -1.98, 0.17, 0.88, 8, 1, 1.02, 0)
A(u64, li1, 9.58, -1.98, 0.17, 2.42, 8, 1, 1.02, 0)
A(u64, li1, 10.08, -1.98, 0.17, 0.88, 8, 1, 1.02, 0)
A(u64, li1, 18.43, -1.98, 0.17, 2.42, 8, 1, 1.02, 0)
A(u64, li1, 18.93, -1.98, 0.17, 0.88, 8, 1, 1.02, 0)
A(u64, li1, 27.28, -1.98, 0.17, 2.42, 8, 1, 1.02, 0)
A(u64, li1, 27.78, -1.98, 0.17, 0.88, 8, 1, 1.02, 0)
A(u64, li1, 36.13, -1.98, 0.17, 2.42, 8, 1, 1.02, 0)
A(u64, li1, 36.63, -1.98, 0.17, 0.88, 8, 1, 1.02, 0)
A(u64, li1, 44.98, -1.98, 0.17, 2.42, 8, 1, 1.02, 0)
A(u64, li1, 45.48, -1.98, 0.17, 0.88, 8, 1, 1.02, 0)
A(u64, li1, 53.83, -1.98, 0.17, 2.42, 8, 1, 1.02, 0)
A(u64, li1, 54.33, -1.98, 0.17, 0.88, 8, 1, 1.02, 0)
A(u64, li1, 62.68, -1.98, 0.17, 2.42, 8, 1, 1.02, 0)
A(u64, li1, 63.18, -1.98, 0.17, 0.88, 8, 1, 1.02, 0)
A(u64, li1, 0.125, -1.77, 0.17, 0.46, 9, 1, 8.85, 0)
A(u64, li1, 1.23, -0.02, 0.17, 1.07, 8, 1, 1.02, 0)
A(u64, li1, 10.08, -0.02, 0.17, 1.07, 8, 1, 1.02, 0)
A(u64, li1, 18.93, -0.02, 0.17, 1.07, 8, 1, 1.02, 0)
A(u64, li1, 27.78, -0.02, 0.17, 1.07, 8, 1, 1.02, 0)
A(u64, li1, 36.63, -0.02, 0.17, 1.07, 8, 1, 1.02, 0)
A(u64, li1, 45.48, -0.02, 0.17, 1.07, 8, 1, 1.02, 0)
A(u64, li1, 54.33, -0.02, 0.17, 1.07, 8, 1, 1.02, 0)
A(u64, li1, 63.18, -0.02, 0.17, 1.07, 8, 1, 1.02, 0)
A(u64, mcon, 1.08, -2.54, 0.17, 0.17, 8, 2, 1.02, 1.94)
A(u64, mcon, 9.93, -2.54, 0.17, 0.17, 8, 2, 1.02, 1.94)
A(u64, mcon, 18.78, -2.54, 0.17, 0.17, 8, 2, 1.02, 1.94)
A(u64, mcon, 27.63, -2.54, 0.17, 0.17, 8, 2, 1.02, 1.94)
A(u64, mcon, 36.48, -2.54, 0.17, 0.17, 8, 2, 1.02, 1.94)
A(u64, mcon, 45.33, -2.54, 0.17, 0.17, 8, 2, 1.02, 1.94)
A(u64, mcon, 54.18, -2.54, 0.17, 0.17, 8, 2, 1.02, 1.94)
A(u64, mcon, 63.03, -2.54, 0.17, 0.17, 8, 2, 1.02, 1.94)
A(u64, mcon, 1.23, -1.625, 0.17, 0.17, 8, 2, 1.02, 2.445)
A(u64, mcon, 10.08, -1.625, 0.17, 0.17, 8, 2, 1.02, 2.445)
A(u64, mcon, 18.93, -1.625, 0.17, 0.17, 8, 2, 1.02, 2.445)
A(u64, mcon, 27.78, -1.625, 0.17, 0.17, 8, 2, 1.02, 2.445)
A(u64, mcon, 36.63, -1.625, 0.17, 0.17, 8, 2, 1.02, 2.445)
A(u64, mcon, 45.48, -1.625, 0.17, 0.17, 8, 2, 1.02, 2.445)
A(u64, mcon, 54.33, -1.625, 0.17, 0.17, 8, 2, 1.02, 2.445)
A(u64, mcon, 63.18, -1.625, 0.17, 0.17, 8, 2, 1.02, 2.445)
R(u64, mcon, [(0.125,-1.625,0.295,-1.455), (8.975,-1.625,9.145,-1.455), (17.825,-1.625,17.995,-1.455), (26.675,-1.625,26.845,-1.455), (35.525,-1.625,35.695,-1.455), (44.375,-1.625,44.545,-1.455), (53.225,-1.625,53.395,-1.455), (62.075,-1.625,62.245,-1.455), (70.925,-1.625,71.095,-1.455)])
R(u64, met1_pin, [(0,-1.74,0.4,-1.34), (0,-0.66,0.4,-0.37), (0,0.72,0.4,1.09)])
A(u64, met1, 0.965, -2.655, 0.4, 0.4, 8, 1, 1.02, 0)
A(u64, met1, 9.815, -2.655, 0.4, 0.4, 8, 1, 1.02, 0)
A(u64, met1, 18.665, -2.655, 0.4, 0.4, 8, 1, 1.02, 0)
A(u64, met1, 27.515, -2.655, 0.4, 0.4, 8, 1, 1.02, 0)
A(u64, met1, 36.365, -2.655, 0.4, 0.4, 8, 1, 1.02, 0)
A(u64, met1, 45.215, -2.655, 0.4, 0.4, 8, 1, 1.02, 0)
A(u64, met1, 54.065, -2.655, 0.4, 0.4, 8, 1, 1.02, 0)
A(u64, met1, 62.915, -2.655, 0.4, 0.4, 8, 1, 1.02, 0)
R(u64, met1, [(0,-1.74,71.22,-1.34), (0,-0.66,71.22,-0.37), (0,0.72,71.22,1.09)])
A(u64, via, 1.09, -2.53, 0.15, 0.15, 8, 1, 1.02, 0)
A(u64, via, 9.94, -2.53, 0.15, 0.15, 8, 1, 1.02, 0)
A(u64, via, 18.79, -2.53, 0.15, 0.15, 8, 1, 1.02, 0)
A(u64, via, 27.64, -2.53, 0.15, 0.15, 8, 1, 1.02, 0)
A(u64, via, 36.49, -2.53, 0.15, 0.15, 8, 1, 1.02, 0)
A(u64, via, 45.34, -2.53, 0.15, 0.15, 8, 1, 1.02, 0)
A(u64, via, 54.19, -2.53, 0.15, 0.15, 8, 1, 1.02, 0)
A(u64, via, 63.04, -2.53, 0.15, 0.15, 8, 1, 1.02, 0)
A(u64, met2_pin, 0.985, -3.2, 0.36, 0.3, 8, 1, 1.02, 0)
A(u64, met2_pin, 9.835, -3.2, 0.36, 0.3, 8, 1, 1.02, 0)
A(u64, met2_pin, 18.685, -3.2, 0.36, 0.3, 8, 1, 1.02, 0)
A(u64, met2_pin, 27.535, -3.2, 0.36, 0.3, 8, 1, 1.02, 0)
A(u64, met2_pin, 36.385, -3.2, 0.36, 0.3, 8, 1, 1.02, 0)
A(u64, met2_pin, 45.235, -3.2, 0.36, 0.3, 8, 1, 1.02, 0)
A(u64, met2_pin, 54.085, -3.2, 0.36, 0.3, 8, 1, 1.02, 0)
A(u64, met2_pin, 62.935, -3.2, 0.36, 0.3, 8, 1, 1.02, 0)
A(u64, met2, 0.985, -3.2, 0.36, 0.925, 8, 1, 1.02, 0)
A(u64, met2, 9.835, -3.2, 0.36, 0.925, 8, 1, 1.02, 0)
A(u64, met2, 18.685, -3.2, 0.36, 0.925, 8, 1, 1.02, 0)
A(u64, met2, 27.535, -3.2, 0.36, 0.925, 8, 1, 1.02, 0)
A(u64, met2, 36.385, -3.2, 0.36, 0.925, 8, 1, 1.02, 0)
A(u64, met2, 45.235, -3.2, 0.36, 0.925, 8, 1, 1.02, 0)
A(u64, met2, 54.085, -3.2, 0.36, 0.925, 8, 1, 1.02, 0)
A(u64, met2, 62.935, -3.2, 0.36, 0.925, 8, 1, 1.02, 0)
A(u64, nsdm, 0.565, -2.085, 8.14, 1.09, 8, 1, 8.85, 0)
A(u64, nsdm, 0.565, -0.125, 8.14, 0.67, 8, 1, 8.85, 0)
A(u64, psdm, -0.125, -1.875, 0.67, 0.67, 9, 1, 8.85, 0)
A(u64, npc, 0.98, -2.64, 0.37, 0.37, 8, 2, 1.02, 2)
A(u64, npc, 9.83, -2.64, 0.37, 0.37, 8, 2, 1.02, 2)
A(u64, npc, 18.68, -2.64, 0.37, 0.37, 8, 2, 1.02, 2)
A(u64, npc, 27.53, -2.64, 0.37, 0.37, 8, 2, 1.02, 2)
A(u64, npc, 36.38, -2.64, 0.37, 0.37, 8, 2, 1.02, 2)
A(u64, npc, 45.23, -2.64, 0.37, 0.37, 8, 2, 1.02, 2)
A(u64, npc, 54.08, -2.64, 0.37, 0.37, 8, 2, 1.02, 2)
A(u64, npc, 62.93, -2.64, 0.37, 0.37, 8, 2, 1.02, 2)
u64.add(gdstk.Label('SEL0', (1.165,-3.05), layer=69, texttype=5))
u64.add(gdstk.Label('SEL1', (2.185,-3.05), layer=69, texttype=5))
u64.add(gdstk.Label('SEL2', (3.205,-3.05), layer=69, texttype=5))
u64.add(gdstk.Label('SEL3', (4.225,-3.05), layer=69, texttype=5))
u64.add(gdstk.Label('SEL4', (5.245,-3.05), layer=69, texttype=5))
u64.add(gdstk.Label('SEL5', (6.265,-3.05), layer=69, texttype=5))
u64.add(gdstk.Label('SEL6', (7.285,-3.05), layer=69, texttype=5))
u64.add(gdstk.Label('SEL7', (8.305,-3.05), layer=69, texttype=5))
u64.add(gdstk.Label('SEL8', (10.015,-3.05), layer=69, texttype=5))
u64.add(gdstk.Label('SEL9', (11.035,-3.05), layer=69, texttype=5))
u64.add(gdstk.Label('SEL10', (12.055,-3.05), layer=69, texttype=5))
u64.add(gdstk.Label('SEL11', (13.075,-3.05), layer=69, texttype=5))
u64.add(gdstk.Label('SEL12', (14.095,-3.05), layer=69, texttype=5))
u64.add(gdstk.Label('SEL13', (15.115,-3.05), layer=69, texttype=5))
u64.add(gdstk.Label('SEL14', (16.135,-3.05), layer=69, texttype=5))
u64.add(gdstk.Label('SEL15', (17.155,-3.05), layer=69, texttype=5))
u64.add(gdstk.Label('SEL16', (18.865,-3.05), layer=69, texttype=5))
u64.add(gdstk.Label('SEL17', (19.885,-3.05), layer=69, texttype=5))
u64.add(gdstk.Label('SEL18', (20.905,-3.05), layer=69, texttype=5))
u64.add(gdstk.Label('SEL19', (21.925,-3.05), layer=69, texttype=5))
u64.add(gdstk.Label('SEL20', (22.945,-3.05), layer=69, texttype=5))
u64.add(gdstk.Label('SEL21', (23.965,-3.05), layer=69, texttype=5))
u64.add(gdstk.Label('SEL22', (24.985,-3.05), layer=69, texttype=5))
u64.add(gdstk.Label('SEL23', (26.005,-3.05), layer=69, texttype=5))
u64.add(gdstk.Label('SEL24', (27.715,-3.05), layer=69, texttype=5))
u64.add(gdstk.Label('SEL25', (28.735,-3.05), layer=69, texttype=5))
u64.add(gdstk.Label('SEL26', (29.755,-3.05), layer=69, texttype=5))
u64.add(gdstk.Label('SEL27', (30.775,-3.05), layer=69, texttype=5))
u64.add(gdstk.Label('SEL28', (31.795,-3.05), layer=69, texttype=5))
u64.add(gdstk.Label('SEL29', (32.815,-3.05), layer=69, texttype=5))
u64.add(gdstk.Label('SEL30', (33.835,-3.05), layer=69, texttype=5))
u64.add(gdstk.Label('SEL31', (34.855,-3.05), layer=69, texttype=5))
u64.add(gdstk.Label('SEL32', (36.565,-3.05), layer=69, texttype=5))
u64.add(gdstk.Label('SEL33', (37.585,-3.05), layer=69, texttype=5))
u64.add(gdstk.Label('SEL34', (38.605,-3.05), layer=69, texttype=5))
u64.add(gdstk.Label('SEL35', (39.625,-3.05), layer=69, texttype=5))
u64.add(gdstk.Label('SEL36', (40.645,-3.05), layer=69, texttype=5))
u64.add(gdstk.Label('SEL37', (41.665,-3.05), layer=69, texttype=5))
u64.add(gdstk.Label('SEL38', (42.685,-3.05), layer=69, texttype=5))
u64.add(gdstk.Label('SEL39', (43.705,-3.05), layer=69, texttype=5))
u64.add(gdstk.Label('SEL40', (45.415,-3.05), layer=69, texttype=5))
u64.add(gdstk.Label('SEL41', (46.435,-3.05), layer=69, texttype=5))
u64.add(gdstk.Label('SEL42', (47.455,-3.05), layer=69, texttype=5))
u64.add(gdstk.Label('SEL43', (48.475,-3.05), layer=69, texttype=5))
u64.add(gdstk.Label('SEL44', (49.495,-3.05), layer=69, texttype=5))
u64.add(gdstk.Label('SEL45', (50.515,-3.05), layer=69, texttype=5))
u64.add(gdstk.Label('SEL46', (51.535,-3.05), layer=69, texttype=5))
u64.add(gdstk.Label('SEL47', (52.555,-3.05), layer=69, texttype=5))
u64.add(gdstk.Label('SEL48', (54.265,-3.05), layer=69, texttype=5))
u64.add(gdstk.Label('SEL49', (55.285,-3.05), layer=69, texttype=5))
u64.add(gdstk.Label('SEL50', (56.305,-3.05), layer=69, texttype=5))
u64.add(gdstk.Label('SEL51', (57.325,-3.05), layer=69, texttype=5))
u64.add(gdstk.Label('SEL52', (58.345,-3.05), layer=69, texttype=5))
u64.add(gdstk.Label('SEL53', (59.365,-3.05), layer=69, texttype=5))
u64.add(gdstk.Label('SEL54', (60.385,-3.05), layer=69, texttype=5))
u64.add(gdstk.Label('SEL55', (61.405,-3.05), layer=69, texttype=5))
u64.add(gdstk.Label('SEL56', (63.115,-3.05), layer=69, texttype=5))
u64.add(gdstk.Label('SEL57', (64.135,-3.05), layer=69, texttype=5))
u64.add(gdstk.Label('SEL58', (65.155,-3.05), layer=69, texttype=5))
u64.add(gdstk.Label('SEL59', (66.175,-3.05), layer=69, texttype=5))
u64.add(gdstk.Label('SEL60', (67.195,-3.05), layer=69, texttype=5))
u64.add(gdstk.Label('SEL61', (68.215,-3.05), layer=69, texttype=5))
u64.add(gdstk.Label('SEL62', (69.235,-3.05), layer=69, texttype=5))
u64.add(gdstk.Label('SEL63', (70.255,-3.05), layer=69, texttype=5))
u64.add(gdstk.Label('X', (0.2,0.905), layer=68, texttype=5))
u64.add(gdstk.Label('VB', (0.2,-0.515), layer=68, texttype=5))
u64.add(gdstk.Label('GND', (0.2,-1.54), layer=68, texttype=5))

lib.write_gds('u64.gds')
